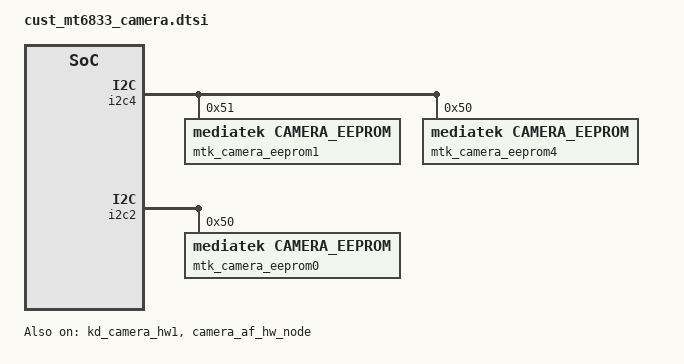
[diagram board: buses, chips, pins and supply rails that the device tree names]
/* SPDX-License-Identifier: GPL-2.0 */
/*
 * Copyright (c) 2019 MediaTek Inc.
*/
/* CAMERA GPIO standardization */
&pio {
	camera_pins_cam0_rst_0: cam0@0 {
		pins_cmd_dat {
			pinmux = <PINMUX_GPIO54__FUNC_GPIO54>;
			slew-rate = <1>;
			output-low;
		};
	};
	camera_pins_cam0_rst_1: cam0@1 {
		pins_cmd_dat {
			pinmux = <PINMUX_GPIO54__FUNC_GPIO54>;
			slew-rate = <1>;
			output-high;
		};
	};

	camera_pins_cam1_rst_0: cam1@0 {
		pins_cmd_dat {
			pinmux = <PINMUX_GPIO53__FUNC_GPIO53>;
			slew-rate = <1>;
			output-low;
		};
	};
	camera_pins_cam1_rst_1: cam1@1 {
		pins_cmd_dat {
			pinmux = <PINMUX_GPIO53__FUNC_GPIO53>;
			slew-rate = <1>;
			output-high;
		};
	};

	camera_pins_cam2_pnd_0: cam2@0 {
		pins_cmd_dat {
			pinmux = <PINMUX_GPIO60__FUNC_GPIO60>;
			slew-rate = <1>;
			output-low;
		};
	};
	camera_pins_cam2_pnd_1: cam2@1 {
		pins_cmd_dat {
			pinmux = <PINMUX_GPIO60__FUNC_GPIO60>;
			slew-rate = <1>;
			output-high;
		};
	};

	camera_pins_cam4_rst_0: cam4@0 {
		pins_cmd_dat {
			pinmux = <PINMUX_GPIO59__FUNC_GPIO59>;
			slew-rate = <1>;
			output-low;
		};
	};
	camera_pins_cam4_rst_1: cam4@1 {
		pins_cmd_dat {
			pinmux = <PINMUX_GPIO59__FUNC_GPIO59>;
			slew-rate = <1>;
			output-high;
		};
	};

	camera_pins_cam0_vcamd_0: cam0@vcam0 {
		pins_cmd_dat {
			pinmux = <PINMUX_GPIO186__FUNC_GPIO186>;
			slew-rate = <1>;
			output-low;
		};
	};
	camera_pins_cam0_vcamd_1: cam0@vcam1 {
		pins_cmd_dat {
			pinmux = <PINMUX_GPIO186__FUNC_GPIO186>;
			slew-rate = <1>;
			output-high;
		};
	};
	camera_pins_cam0_vcama_0: cam0@vcam2 {
		pins_cmd_dat {
			pinmux = <PINMUX_GPIO182__FUNC_GPIO182>;
			slew-rate = <1>;
			output-low;
		};
	};
	camera_pins_cam0_vcama_1: cam0@vcam3 {
		pins_cmd_dat {
			pinmux = <PINMUX_GPIO182__FUNC_GPIO182>;
			slew-rate = <1>;
			output-high;
		};
	};

	camera_pins_cam1_vcamd_0: cam1@vcam0 {
		pins_cmd_dat {
			pinmux = <PINMUX_GPIO186__FUNC_GPIO186>;
			slew-rate = <1>;
			output-low;
		};
	};
	camera_pins_cam1_vcamd_1: cam1@vcam1 {
		pins_cmd_dat {
			pinmux = <PINMUX_GPIO186__FUNC_GPIO186>;
			slew-rate = <1>;
			output-high;
		};
	};
	camera_pins_cam1_vcama_0: cam1@vcam2 {
		pins_cmd_dat {
			pinmux = <PINMUX_GPIO182__FUNC_GPIO182>;
			slew-rate = <1>;
			output-low;
		};
	};
	camera_pins_cam1_vcama_1: cam1@vcam3 {
		pins_cmd_dat {
			pinmux = <PINMUX_GPIO182__FUNC_GPIO182>;
			slew-rate = <1>;
			output-high;
		};
	};
	/*camera_pins_cam2_vcamd_0: cam2@vcam0 {
		pins_cmd_dat {
			pinmux = <PINMUX_GPIO6__FUNC_GPIO6>;
			slew-rate = <1>;
			output-low;
		};
	};
	camera_pins_cam2_vcamd_1: cam2@vcam1 {
		pins_cmd_dat {
			pinmux = <PINMUX_GPIO6__FUNC_GPIO6>;
			slew-rate = <1>;
			output-high;
		};
	};*/
	camera_pins_cam2_vcama_0: cam2@vcam2 {
		pins_cmd_dat {
			pinmux = <PINMUX_GPIO182__FUNC_GPIO182>;
			slew-rate = <1>;
			output-low;
		};
	};
	camera_pins_cam2_vcama_1: cam2@vcam3 {
		pins_cmd_dat {
			pinmux = <PINMUX_GPIO182__FUNC_GPIO182>;
			slew-rate = <1>;
			output-high;
		};
	};
	/*camera_pins_cam4_vcamd_0: cam4@vcam0 {
		pins_cmd_dat {
			pinmux = <PINMUX_GPIO93__FUNC_GPIO93>;
			slew-rate = <1>;
			output-low;
		};
	};
	camera_pins_cam4_vcamd_1: cam4@vcam1 {
		pins_cmd_dat {
			pinmux = <PINMUX_GPIO93__FUNC_GPIO93>;
			slew-rate = <1>;
			output-high;
		};
	};*/
	camera_pins_cam4_vcama_0: cam4@vcam2 {
		pins_cmd_dat {
			pinmux = <PINMUX_GPIO182__FUNC_GPIO182>;
			slew-rate = <1>;
			output-low;
		};
	};
	camera_pins_cam4_vcama_1: cam4@vcam3 {
		pins_cmd_dat {
			pinmux = <PINMUX_GPIO182__FUNC_GPIO182>;
			slew-rate = <1>;
			output-high;
		};
	};
	camera_pins_cam0_mclk_off: camera_pins_cam0_mclk_off {
		pins_cmd_dat {
			pinmux = <PINMUX_GPIO49__FUNC_GPIO49>;
			drive-strength = <1>;
		};
	};
	camera_pins_cam0_mclk_2ma: camera_pins_cam0_mclk_2ma {
		pins_cmd_dat {
			pinmux = <PINMUX_GPIO49__FUNC_CMMCLK0>;
			drive-strength = <0>;
		};
	};
	camera_pins_cam0_mclk_4ma: camera_pins_cam0_mclk_4ma {
		pins_cmd_dat {
			pinmux = <PINMUX_GPIO49__FUNC_CMMCLK0>;
			drive-strength = <1>;
		};
	};
	camera_pins_cam0_mclk_6ma: camera_pins_cam0_mclk_6ma {
		pins_cmd_dat {
			pinmux = <PINMUX_GPIO49__FUNC_CMMCLK0>;
			drive-strength = <2>;
		};
	};
	camera_pins_cam0_mclk_8ma: camera_pins_cam0_mclk_8ma {
		pins_cmd_dat {
			pinmux = <PINMUX_GPIO49__FUNC_CMMCLK0>;
			drive-strength = <3>;
		};
	};
	camera_pins_cam1_mclk_off: camera_pins_cam1_mclk_off {
		pins_cmd_dat {
			pinmux = <PINMUX_GPIO52__FUNC_GPIO52>;
			drive-strength = <1>;
		};
	};
	camera_pins_cam1_mclk_2ma: camera_pins_cam1_mclk_2ma {
		pins_cmd_dat {
			pinmux = <PINMUX_GPIO52__FUNC_CMMCLK3>;
			drive-strength = <0>;
		};
	};
	camera_pins_cam1_mclk_4ma: camera_pins_cam1_mclk_4ma {
		pins_cmd_dat {
			pinmux = <PINMUX_GPIO52__FUNC_CMMCLK3>;
			drive-strength = <1>;
		};
	};
	camera_pins_cam1_mclk_6ma: camera_pins_cam1_mclk_6ma {
		pins_cmd_dat {
			pinmux = <PINMUX_GPIO52__FUNC_CMMCLK3>;
			drive-strength = <2>;
		};
	};
	camera_pins_cam1_mclk_8ma: camera_pins_cam1_mclk_8ma {
		pins_cmd_dat {
			pinmux = <PINMUX_GPIO52__FUNC_CMMCLK3>;
			drive-strength = <3>;
		};
	};
	camera_pins_cam2_mclk_off: camera_pins_cam2_mclk_off {
		pins_cmd_dat {
			pinmux = <PINMUX_GPIO50__FUNC_GPIO50>;
			drive-strength = <1>;
		};
	};
	camera_pins_cam2_mclk_2ma: camera_pins_cam2_mclk_2ma {
		pins_cmd_dat {
			pinmux = <PINMUX_GPIO50__FUNC_CMMCLK1>;
			drive-strength = <0>;
		};
	};
	camera_pins_cam2_mclk_4ma: camera_pins_cam2_mclk_4ma {
		pins_cmd_dat {
			pinmux = <PINMUX_GPIO50__FUNC_CMMCLK1>;
			drive-strength = <1>;
		};
	};
	camera_pins_cam2_mclk_6ma: camera_pins_cam2_mclk_6ma {
		pins_cmd_dat {
			pinmux = <PINMUX_GPIO50__FUNC_CMMCLK1>;
			drive-strength = <2>;
		};
	};
	camera_pins_cam2_mclk_8ma: camera_pins_cam2_mclk_8ma {
		pins_cmd_dat {
			pinmux = <PINMUX_GPIO50__FUNC_CMMCLK1>;
			drive-strength = <3>;
		};
	};
	camera_pins_cam4_mclk_off: camera_pins_cam4_mclk_off {
		pins_cmd_dat {
			pinmux = <PINMUX_GPIO51__FUNC_GPIO51>;
			drive-strength = <1>;
		};
	};
	camera_pins_cam4_mclk_2ma: camera_pins_cam4_mclk_2ma {
		pins_cmd_dat {
			pinmux = <PINMUX_GPIO51__FUNC_CMMCLK2>;
			drive-strength = <0>;
		};
	};
	camera_pins_cam4_mclk_4ma: camera_pins_cam4_mclk_4ma {
		pins_cmd_dat {
			pinmux = <PINMUX_GPIO51__FUNC_CMMCLK2>;
			drive-strength = <1>;
		};
	};
	camera_pins_cam4_mclk_6ma: camera_pins_cam4_mclk_6ma {
		pins_cmd_dat {
			pinmux = <PINMUX_GPIO51__FUNC_CMMCLK2>;
			drive-strength = <2>;
		};
	};
	camera_pins_cam4_mclk_8ma: camera_pins_cam4_mclk_8ma {
		pins_cmd_dat {
			pinmux = <PINMUX_GPIO51__FUNC_CMMCLK2>;
			drive-strength = <3>;
		};
	};
	/*camera_pins_cam_mipi_switch_en_1: mipi_en@1 {
		pins_cmd_dat {
			pinmux = <PINMUX_GPIO131__FUNC_GPIO131>;
			slew-rate = <1>;
			output-high;
		};
	};
	camera_pins_cam_mipi_switch_en_0: mipi_en@0 {
		pins_cmd_dat {
			pinmux = <PINMUX_GPIO131__FUNC_GPIO131>;
			slew-rate = <1>;
			output-low;
		};
	};
	camera_pins_cam_mipi_switch_sel_1: mipi_sel@1 {
		pins_cmd_dat {
			pinmux = <PINMUX_GPIO132__FUNC_GPIO132>;
			slew-rate = <1>;
			output-high;
		};
	};
	camera_pins_cam_mipi_switch_sel_0: mipi_sel@0 {
		pins_cmd_dat {
			pinmux = <PINMUX_GPIO132__FUNC_GPIO132>;
			slew-rate = <1>;
			output-low;
		};
	};*/
	//rear camera

	camera_pins_cam0_vcamd_1v2_0: cam0@vcam6 {
		pins_cmd_dat {
			pinmux = <PINMUX_GPIO185__FUNC_GPIO185>;
			slew-rate = <1>;
			output-low;
		};
	};
	camera_pins_cam0_vcamd_1v2_1: cam0@vcam7 {
		pins_cmd_dat {
			pinmux = <PINMUX_GPIO185__FUNC_GPIO185>;
			slew-rate = <1>;
			output-high;
		};
	};
        /*front camera*/

        camera_pins_cam1_vcamd_1v2_0: cam0@vcam10 {
                pins_cmd_dat {
                        pinmux = <PINMUX_GPIO185__FUNC_GPIO185>;
                        slew-rate = <1>;
                        output-low;
                };
        };
        camera_pins_cam1_vcamd_1v2_1: cam0@vcam11 {
                pins_cmd_dat {
                        pinmux = <PINMUX_GPIO185__FUNC_GPIO185>;
                        slew-rate = <1>;
                        output-high;
                };
        };
        cam1_vcamd_1v2_en0: cam1_vcamd_1v2_en0 {
                pins_cmd_dat {
                        pinmux = <PINMUX_GPIO185__FUNC_GPIO185>;
                        slew-rate = <1>;
                        output-low;
                };
        };
        cam1_vcamd_1v1_en1: cam1_vcamd_1v1_en1 {
                pins_cmd_dat {
                        pinmux = <PINMUX_GPIO185__FUNC_GPIO185>;
                        slew-rate = <1>;
                        output-high;
                };
        };
        cam1_vcamd_en0: cam1_vcamd_en0 {
                pins_cmd_dat {
                        pinmux = <PINMUX_GPIO186__FUNC_GPIO186>;
                        slew-rate = <1>;
                        output-low;
                };
        };
        cam1_vcamd_en1: cam1_vcamd_en1 {
                pins_cmd_dat {
                        pinmux = <PINMUX_GPIO186__FUNC_GPIO186>;
                        slew-rate = <1>;
                        output-high;
                };
        };
        cam1_rst_en0: cam1_rst_en0 {
                pins_cmd_dat {
                        pinmux = <PINMUX_GPIO53__FUNC_GPIO53>;
                        slew-rate = <1>;
                        output-low;
                };
        };
        cam1_rst_en1: cam1_rst_en1 {
                pins_cmd_dat {
                        pinmux = <PINMUX_GPIO53__FUNC_GPIO53>;
                        slew-rate = <1>;
                        output-high;
                };
        };

	camera_pins_default: camdefault {
	};
};
&kd_camera_hw1 {
	pinctrl-names = "default",
			"cam0_rst0", "cam0_rst1",
			"cam1_rst0", "cam1_rst1",
			"cam2_pnd0", "cam2_pnd1",
			"cam4_rst0", "cam4_rst1",
			"cam0_ldo_vcamd_0", "cam0_ldo_vcamd_1",
			"cam0_ldo_vcama_0", "cam0_ldo_vcama_1",
			"cam1_ldo_vcamd_0", "cam1_ldo_vcamd_1",
			"cam1_ldo_vcama_0", "cam1_ldo_vcama_1",
			/*"cam2_ldo_vcamd_0", "cam2_ldo_vcamd_1",*/
			"cam2_ldo_vcama_0", "cam2_ldo_vcama_1",
			/*"cam4_ldo_vcamd_0", "cam4_ldo_vcamd_1",*/
			"cam4_ldo_vcama_0", "cam4_ldo_vcama_1",
			"cam0_mclk_off",
			"cam0_mclk_2mA", "cam0_mclk_4mA",
			"cam0_mclk_6mA", "cam0_mclk_8mA",
			"cam1_mclk_off",
			"cam1_mclk_2mA", "cam1_mclk_4mA",
			"cam1_mclk_6mA", "cam1_mclk_8mA",
			"cam2_mclk_off",
			"cam2_mclk_2mA", "cam2_mclk_4mA",
			"cam2_mclk_6mA", "cam2_mclk_8mA",
			"cam4_mclk_off",
			"cam4_mclk_2mA", "cam4_mclk_4mA",
			"cam4_mclk_6mA", "cam4_mclk_8mA",
			/*"cam_mipi_switch_en_1", "cam_mipi_switch_en_0",
			"cam_mipi_switch_sel_1", "cam_mipi_switch_sel_0";*/
			"cam0_ldo_vcamd_1v2_0","cam0_ldo_vcamd_1v2_1",
			"cam1_ldo_vcamd_1v2_0","cam1_ldo_vcamd_1v2_1",
			"cam1_vcamd_1v2_en0","cam1_vcamd_1v1_en1",
			"cam1_vcamd_en0","cam1_vcamd_en1",
			"cam1_rst_en0","cam1_rst_en1";
	pinctrl-0 = <&camera_pins_default>;
	pinctrl-1 = <&camera_pins_cam0_rst_0>;
	pinctrl-2 = <&camera_pins_cam0_rst_1>;
	pinctrl-3 = <&camera_pins_cam1_rst_0>;
	pinctrl-4 = <&camera_pins_cam1_rst_1>;
	pinctrl-5 = <&camera_pins_cam2_pnd_0>;
	pinctrl-6 = <&camera_pins_cam2_pnd_1>;
	pinctrl-7 = <&camera_pins_cam4_rst_0>;
	pinctrl-8 = <&camera_pins_cam4_rst_1>;
	pinctrl-9 = <&camera_pins_cam0_vcamd_0>;
	pinctrl-10 = <&camera_pins_cam0_vcamd_1>;
	pinctrl-11 = <&camera_pins_cam0_vcama_0>;
	pinctrl-12 = <&camera_pins_cam0_vcama_1>;
	pinctrl-13 = <&camera_pins_cam1_vcamd_0>;
	pinctrl-14 = <&camera_pins_cam1_vcamd_1>;
	pinctrl-15 = <&camera_pins_cam1_vcama_0>;
	pinctrl-16 = <&camera_pins_cam1_vcama_1>;
	/*pinctrl-17 = <&camera_pins_cam2_vcamd_0>;
	pinctrl-18 = <&camera_pins_cam2_vcamd_1>;*/
	pinctrl-17 = <&camera_pins_cam2_vcama_0>;
	pinctrl-18 = <&camera_pins_cam2_vcama_1>;
	/*pinctrl-19 = <&camera_pins_cam4_vcamd_0>;
	pinctrl-20 = <&camera_pins_cam4_vcamd_1>;*/
	pinctrl-19 = <&camera_pins_cam4_vcama_0>;
	pinctrl-20 = <&camera_pins_cam4_vcama_1>;
	pinctrl-21 = <&camera_pins_cam0_mclk_off>;
	pinctrl-22 = <&camera_pins_cam0_mclk_2ma>;
	pinctrl-23 = <&camera_pins_cam0_mclk_4ma>;
	pinctrl-24 = <&camera_pins_cam0_mclk_6ma>;
	pinctrl-25 = <&camera_pins_cam0_mclk_8ma>;
	pinctrl-26 = <&camera_pins_cam1_mclk_off>;
	pinctrl-27 = <&camera_pins_cam1_mclk_2ma>;
	pinctrl-28 = <&camera_pins_cam1_mclk_4ma>;
	pinctrl-29 = <&camera_pins_cam1_mclk_6ma>;
	pinctrl-30 = <&camera_pins_cam1_mclk_8ma>;
	pinctrl-31 = <&camera_pins_cam2_mclk_off>;
	pinctrl-32 = <&camera_pins_cam2_mclk_2ma>;
	pinctrl-33 = <&camera_pins_cam2_mclk_4ma>;
	pinctrl-34 = <&camera_pins_cam2_mclk_6ma>;
	pinctrl-35 = <&camera_pins_cam2_mclk_8ma>;
	pinctrl-36 = <&camera_pins_cam4_mclk_off>;
	pinctrl-37 = <&camera_pins_cam4_mclk_2ma>;
	pinctrl-38 = <&camera_pins_cam4_mclk_4ma>;
	pinctrl-39 = <&camera_pins_cam4_mclk_6ma>;
	pinctrl-40 = <&camera_pins_cam4_mclk_8ma>;
	/*pinctrl-45 = <&camera_pins_cam_mipi_switch_en_1>;
	pinctrl-46 = <&camera_pins_cam_mipi_switch_en_0>;
	pinctrl-43 = <&camera_pins_cam_mipi_switch_sel_1>;
	pinctrl-44 = <&camera_pins_cam_mipi_switch_sel_0>;*/
	pinctrl-41 = <&camera_pins_cam0_vcamd_1v2_0>;
	pinctrl-42 = <&camera_pins_cam0_vcamd_1v2_1>;
	pinctrl-43 = <&camera_pins_cam1_vcamd_1v2_0>;
	pinctrl-44 = <&camera_pins_cam1_vcamd_1v2_1>;
	pinctrl-45 = <&cam1_vcamd_1v2_en0>;
	pinctrl-46 = <&cam1_vcamd_1v1_en1>;
	pinctrl-47 = <&cam1_vcamd_en0>;
	pinctrl-48 = <&cam1_vcamd_en1>;
	pinctrl-49 = <&cam1_rst_en0>;
	pinctrl-50 = <&cam1_rst_en1>;

	cam0_vcamio-supply = <&mt_pmic_vcamio_ldo_reg>;
	cam1_vcamio-supply = <&mt_pmic_vcamio_ldo_reg>;
	cam2_vcamio-supply = <&mt_pmic_vcamio_ldo_reg>;
	cam4_vcamio-supply = <&mt_pmic_vcamio_ldo_reg>;
	cam0_vcamaf-supply = <&mt_pmic_vtp_ldo_reg>;

	cam0_enable_sensor = "w2s5kjn1reartruly_mipi_raw w2s5kjn1rearst_mipi_raw w2hi5022qreartxd_mipi_raw";
	cam1_enable_sensor = "w2sc1300mcsfrontst_mipi_raw w2sc1300mcsfronttxd_mipi_raw w2hi1336fronttruly_mipi_raw w2sc501csfrontsy_mipi_raw";
	cam2_enable_sensor = "w2sc202csdeplh_mipi_mono w2sc202csdeplh2_mipi_mono w2c2519depcxt_mipi_mono w2c2519depcxt2_mipi_mono w2gc02m1depsj_mipi_raw";
	cam3_enable_sensor = "w1_cam3_dummy_sensor_mipi_raw";
	cam4_enable_sensor = "w2sc202csmicrolh_mipi_raw w2gc02m1microcxt_mipi_raw w2bf2253lmicrosj_mipi_raw w2c2599microdelta_mipi_raw";

	status = "okay";
};
/* CAMERA GPIO end */

/* CAMERA EEPROM */
&i2c4 {
	mtk_camera_eeprom1:camera_eeprom1@51 {
		compatible = "mediatek,camera_eeprom";
		reg = <0x51>;
		status = "okay";
	};
	mtk_camera_eeprom4:camera_eeprom4@50 {
		compatible = "mediatek,camera_eeprom";
		reg = <0x50>;
		status = "okay";
	};
};
&i2c2 {
	mtk_camera_eeprom0:camera_eeprom0@50 {
		compatible = "mediatek,camera_eeprom";
		reg = <0x50>;
		status = "okay";
	};
};
/* CAMERA EEPROM end */

/* CAMERA AF */
&camera_af_hw_node {
		camaf_m1_pmic-supply = <&mt_pmic_vtp_ldo_reg>;
		status = "okay";
};
/* CAMERA AF end */
